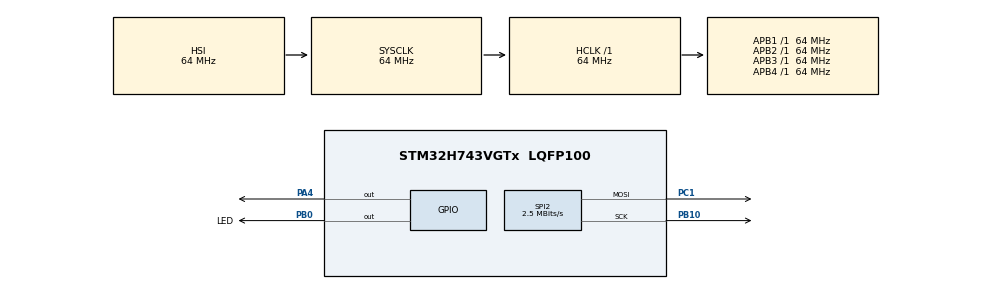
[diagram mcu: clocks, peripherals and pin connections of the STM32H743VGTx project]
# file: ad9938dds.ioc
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CORTEX_M7.default_mode_Activation=1
Mcu.Family=STM32H7
Mcu.Name=STM32H743VGTx
Mcu.Package=LQFP100
NVIC.PriorityGroup=NVIC_PRIORITYGROUP_4
PA13\ (JTMS/SWDIO).Mode=Serial_Wire
PA13\ (JTMS/SWDIO).Signal=DEBUG_JTMS-SWDIO
PA14\ (JTCK/SWCLK).Mode=Serial_Wire
PA14\ (JTCK/SWCLK).Signal=DEBUG_JTCK-SWCLK
PA4.Signal=GPIO_Output
PB0.GPIO_Label=LED
PB0.Signal=GPIO_Output
PB10.Mode=TX_Only_Simplex_Unidirect_Master
PB10.Signal=SPI2_SCK
PC1.Mode=TX_Only_Simplex_Unidirect_Master
PC1.Signal=SPI2_MOSI
ProjectManager.HeapSize=0x200
ProjectManager.StackSize=0x400
ProjectManager.TargetToolchain=MDK-ARM V5.32
RCC.ADCFreq_Value=129000000
RCC.APB1Freq_Value=64000000
RCC.APB2Freq_Value=64000000
RCC.APB3Freq_Value=64000000
RCC.APB4Freq_Value=64000000
RCC.CortexFreq_Value=64000000
RCC.DIVM1=4
RCC.DIVN1=10
RCC.HCLKFreq_Value=64000000
RCC.PLLFRACN=0
RCC.SYSCLKFreq_VALUE=64000000
RCC.USBFreq_Value=80000000
SPI2.BaudRatePrescaler=SPI_BAUDRATEPRESCALER_32
SPI2.CLKPolarity=SPI_POLARITY_HIGH
SPI2.CalculateBaudRate=2.5 MBits/s
SPI2.DataSize=SPI_DATASIZE_8BIT
SPI2.Direction=SPI_DIRECTION_2LINES_TXONLY
SPI2.Mode=SPI_MODE_MASTER
SPI2.VirtualType=VM_MASTER
VP_MEMORYMAP_VS_MEMORYMAP.Mode=CurAppReg
board=custom

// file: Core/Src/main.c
/* USER CODE BEGIN Header */
/**
  ******************************************************************************
  * @file           : main.c
  * @brief          : Main program body
  ******************************************************************************
  * @attention
  *
  * Copyright (c) 2026 STMicroelectronics.
  * All rights reserved.
  *
  * This software is licensed under terms that can be found in the LICENSE file
  * in the root directory of this software component.
  * If no LICENSE file comes with this software, it is provided AS-IS.
  *
  ******************************************************************************
  */
/* USER CODE END Header */
#include "main.h"

SPI_HandleTypeDef hspi2;

/* USER CODE BEGIN PV */
#define AD9833_MCLK        25000000UL

/* PA4 ?? FSYNC / CS */
#define AD9833_CS_PORT     GPIOA
#define AD9833_CS_PIN      GPIO_PIN_4

#define AD9833_CS_LOW()    HAL_GPIO_WritePin(AD9833_CS_PORT, AD9833_CS_PIN, GPIO_PIN_RESET)
#define AD9833_CS_HIGH()   HAL_GPIO_WritePin(AD9833_CS_PORT, AD9833_CS_PIN, GPIO_PIN_SET)

/* USER CODE END PV */

void SystemClock_Config(void);
static void MPU_Config(void);
static void MX_GPIO_Init(void);
static void MX_SPI2_Init(void);

/* USER CODE BEGIN 0 */
void AD9833_Write16(uint16_t data)
{
    uint8_t tx[2];

    /* AD9833 ?????? */
    tx[0] = (uint8_t)(data >> 8);
    tx[1] = (uint8_t)(data & 0xFF);

    AD9833_CS_LOW();
    HAL_SPI_Transmit(&hspi2, tx, 2, HAL_MAX_DELAY);
    AD9833_CS_HIGH();
}

/* ?? AD9833 ????,?? Hz */
void AD9833_SetFrequency(uint32_t freq_hz)
{
    uint32_t freq_word;
    uint16_t freq_lsb;
    uint16_t freq_msb;

    /*
       AD9833 ???????:
       FREQ_WORD = Fout * 2^28 / MCLK
    */
    freq_word = (uint32_t)(((uint64_t)freq_hz * 268435456ULL) / AD9833_MCLK);

    freq_lsb = 0x4000 | (freq_word & 0x3FFF);
    freq_msb = 0x4000 | ((freq_word >> 14) & 0x3FFF);

    /*
       0x2100:
       B28 = 1,????? 28 ????
       RESET = 1,?????
    */
    AD9833_Write16(0x2100);

    /* ? FREQ0 ? 14 ? */
    AD9833_Write16(freq_lsb);

    /* ? FREQ0 ? 14 ? */
    AD9833_Write16(freq_msb);

    /* PHASE0 = 0 */
    AD9833_Write16(0xC000);

    /*
       0x2000:
       B28 = 1
       RESET = 0
       OPBITEN = 0
       MODE = 0
       ?????
    */
    AD9833_Write16(0x2000);
}

/* AD9833 ??? */
void AD9833_Init(void)
{
    AD9833_CS_HIGH();
    HAL_Delay(10);

    /* ??? AD9833 */
    AD9833_Write16(0x2100);
    HAL_Delay(1);
}
/* USER CODE END 0 */

int main(void)
{

  /* MPU Configuration--------------------------------------------------------*/
  MPU_Config();

  /* MCU Configuration--------------------------------------------------------*/

  /* Reset of all peripherals, Initializes the Flash interface and the Systick. */
  HAL_Init();

  /* Configure the system clock */
  SystemClock_Config();

  /* Initialize all configured peripherals */
  MX_GPIO_Init();
  MX_SPI2_Init();
  /* USER CODE BEGIN 2 */
 AD9833_Init();
 AD9833_SetFrequency(1000000);
 HAL_GPIO_WritePin(LED_GPIO_Port,LED_Pin,GPIO_PIN_SET);
  /* USER CODE END 2 */

  /* Infinite loop */
  while (1)
  {

  }
}

void SystemClock_Config(void)
{
  RCC_OscInitTypeDef RCC_OscInitStruct = {0};
  RCC_ClkInitTypeDef RCC_ClkInitStruct = {0};

  /** Supply configuration update enable
  */
  HAL_PWREx_ConfigSupply(PWR_LDO_SUPPLY);

  /** Configure the main internal regulator output voltage
  */
  __HAL_PWR_VOLTAGESCALING_CONFIG(PWR_REGULATOR_VOLTAGE_SCALE3);

  while(!__HAL_PWR_GET_FLAG(PWR_FLAG_VOSRDY)) {}

  /** Initializes the RCC Oscillators according to the specified parameters
  * in the RCC_OscInitTypeDef structure.
  */
  RCC_OscInitStruct.OscillatorType = RCC_OSCILLATORTYPE_HSI;
  RCC_OscInitStruct.HSIState = RCC_HSI_DIV1;
  RCC_OscInitStruct.HSICalibrationValue = RCC_HSICALIBRATION_DEFAULT;
  RCC_OscInitStruct.PLL.PLLState = RCC_PLL_ON;
  RCC_OscInitStruct.PLL.PLLSource = RCC_PLLSOURCE_HSI;
  RCC_OscInitStruct.PLL.PLLM = 4;
  RCC_OscInitStruct.PLL.PLLN = 10;
  RCC_OscInitStruct.PLL.PLLP = 2;
  RCC_OscInitStruct.PLL.PLLQ = 2;
  RCC_OscInitStruct.PLL.PLLR = 2;
  RCC_OscInitStruct.PLL.PLLRGE = RCC_PLL1VCIRANGE_3;
  RCC_OscInitStruct.PLL.PLLVCOSEL = RCC_PLL1VCOMEDIUM;
  RCC_OscInitStruct.PLL.PLLFRACN = 0;
  if (HAL_RCC_OscConfig(&RCC_OscInitStruct) != HAL_OK)
  {
    Error_Handler();
  }

  /** Initializes the CPU, AHB and APB buses clocks
  */
  RCC_ClkInitStruct.ClockType = RCC_CLOCKTYPE_HCLK|RCC_CLOCKTYPE_SYSCLK
                              |RCC_CLOCKTYPE_PCLK1|RCC_CLOCKTYPE_PCLK2
                              |RCC_CLOCKTYPE_D3PCLK1|RCC_CLOCKTYPE_D1PCLK1;
  RCC_ClkInitStruct.SYSCLKSource = RCC_SYSCLKSOURCE_HSI;
  RCC_ClkInitStruct.SYSCLKDivider = RCC_SYSCLK_DIV1;
  RCC_ClkInitStruct.AHBCLKDivider = RCC_HCLK_DIV1;
  RCC_ClkInitStruct.APB3CLKDivider = RCC_APB3_DIV1;
  RCC_ClkInitStruct.APB1CLKDivider = RCC_APB1_DIV1;
  RCC_ClkInitStruct.APB2CLKDivider = RCC_APB2_DIV1;
  RCC_ClkInitStruct.APB4CLKDivider = RCC_APB4_DIV1;

  if (HAL_RCC_ClockConfig(&RCC_ClkInitStruct, FLASH_LATENCY_1) != HAL_OK)
  {
    Error_Handler();
  }
}

static void MX_SPI2_Init(void)
{

  /* SPI2 parameter configuration*/
  hspi2.Instance = SPI2;
  hspi2.Init.Mode = SPI_MODE_MASTER;
  hspi2.Init.Direction = SPI_DIRECTION_2LINES_TXONLY;
  hspi2.Init.DataSize = SPI_DATASIZE_8BIT;
  hspi2.Init.CLKPolarity = SPI_POLARITY_HIGH;
  hspi2.Init.CLKPhase = SPI_PHASE_1EDGE;
  hspi2.Init.NSS = SPI_NSS_SOFT;
  hspi2.Init.BaudRatePrescaler = SPI_BAUDRATEPRESCALER_32;
  hspi2.Init.FirstBit = SPI_FIRSTBIT_MSB;
  hspi2.Init.TIMode = SPI_TIMODE_DISABLE;
  hspi2.Init.CRCCalculation = SPI_CRCCALCULATION_DISABLE;
  hspi2.Init.CRCPolynomial = 0x0;
  hspi2.Init.NSSPMode = SPI_NSS_PULSE_ENABLE;
  hspi2.Init.NSSPolarity = SPI_NSS_POLARITY_LOW;
  hspi2.Init.FifoThreshold = SPI_FIFO_THRESHOLD_01DATA;
  hspi2.Init.TxCRCInitializationPattern = SPI_CRC_INITIALIZATION_ALL_ZERO_PATTERN;
  hspi2.Init.RxCRCInitializationPattern = SPI_CRC_INITIALIZATION_ALL_ZERO_PATTERN;
  hspi2.Init.MasterSSIdleness = SPI_MASTER_SS_IDLENESS_00CYCLE;
  hspi2.Init.MasterInterDataIdleness = SPI_MASTER_INTERDATA_IDLENESS_00CYCLE;
  hspi2.Init.MasterReceiverAutoSusp = SPI_MASTER_RX_AUTOSUSP_DISABLE;
  hspi2.Init.MasterKeepIOState = SPI_MASTER_KEEP_IO_STATE_DISABLE;
  hspi2.Init.IOSwap = SPI_IO_SWAP_DISABLE;
  if (HAL_SPI_Init(&hspi2) != HAL_OK)
  {
    Error_Handler();
  }

}

static void MX_GPIO_Init(void)
{
  GPIO_InitTypeDef GPIO_InitStruct = {0};

  /* GPIO Ports Clock Enable */
  __HAL_RCC_GPIOC_CLK_ENABLE();
  __HAL_RCC_GPIOA_CLK_ENABLE();
  __HAL_RCC_GPIOB_CLK_ENABLE();

  /*Configure GPIO pin Output Level */
  HAL_GPIO_WritePin(GPIOA, GPIO_PIN_4, GPIO_PIN_RESET);

  /*Configure GPIO pin Output Level */
  HAL_GPIO_WritePin(LED_GPIO_Port, LED_Pin, GPIO_PIN_RESET);

  /*Configure GPIO pin : PA4 */
  GPIO_InitStruct.Pin = GPIO_PIN_4;
  GPIO_InitStruct.Mode = GPIO_MODE_OUTPUT_PP;
  GPIO_InitStruct.Pull = GPIO_NOPULL;
  GPIO_InitStruct.Speed = GPIO_SPEED_FREQ_LOW;
  HAL_GPIO_Init(GPIOA, &GPIO_InitStruct);

  /*Configure GPIO pin : LED_Pin */
  GPIO_InitStruct.Pin = LED_Pin;
  GPIO_InitStruct.Mode = GPIO_MODE_OUTPUT_PP;
  GPIO_InitStruct.Pull = GPIO_NOPULL;
  GPIO_InitStruct.Speed = GPIO_SPEED_FREQ_LOW;
  HAL_GPIO_Init(LED_GPIO_Port, &GPIO_InitStruct);

}

 /* MPU Configuration */

void MPU_Config(void)
{
  MPU_Region_InitTypeDef MPU_InitStruct = {0};

  /* Disables the MPU */
  HAL_MPU_Disable();

  /** Initializes and configures the Region and the memory to be protected
  */
  MPU_InitStruct.Enable = MPU_REGION_ENABLE;
  MPU_InitStruct.Number = MPU_REGION_NUMBER0;
  MPU_InitStruct.BaseAddress = 0x0;
  MPU_InitStruct.Size = MPU_REGION_SIZE_4GB;
  MPU_InitStruct.SubRegionDisable = 0x87;
  MPU_InitStruct.TypeExtField = MPU_TEX_LEVEL0;
  MPU_InitStruct.AccessPermission = MPU_REGION_NO_ACCESS;
  MPU_InitStruct.DisableExec = MPU_INSTRUCTION_ACCESS_DISABLE;
  MPU_InitStruct.IsShareable = MPU_ACCESS_SHAREABLE;
  MPU_InitStruct.IsCacheable = MPU_ACCESS_NOT_CACHEABLE;
  MPU_InitStruct.IsBufferable = MPU_ACCESS_NOT_BUFFERABLE;

  HAL_MPU_ConfigRegion(&MPU_InitStruct);
  /* Enables the MPU */
  HAL_MPU_Enable(MPU_PRIVILEGED_DEFAULT);

}

void Error_Handler(void)
{
  __disable_irq();
  while (1)
  {
  }
}
